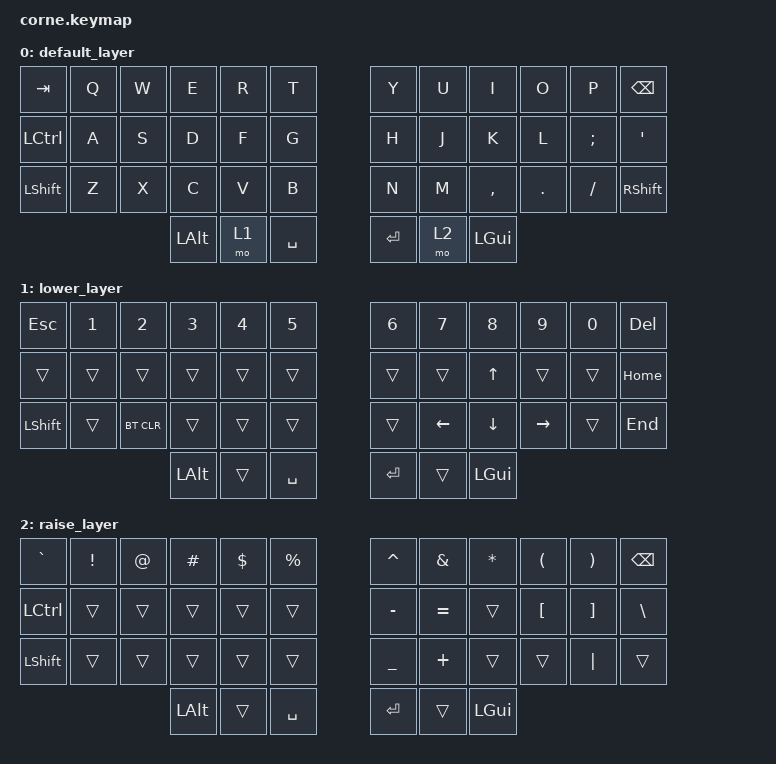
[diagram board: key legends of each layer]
/*
 * Copyright (c) 2020 The ZMK Contributors
 *
 * SPDX-License-Identifier: MIT
 */

#include <behaviors.dtsi>
#include <dt-bindings/zmk/keys.h>
#include <dt-bindings/zmk/bt.h>
#include <dt-bindings/zmk/outputs.h>

/ {
        keymap {
                compatible = "zmk,keymap";

                default_layer {
// -----------------------------------------------------------------------------------------
// |  TAB |  Q  |  W  |  E  |  R  |  T  |   |  Y  |  U   |  I  |  O  |  P  | BKSP |
// | CTRL |  A  |  S  |  D  |  F  |  G  |   |  H  |  J   |  K  |  L  |  ;  |  '   |
// | SHFT |  Z  |  X  |  C  |  V  |  B  |   |  N  |  M   |  ,  |  .  |  /  | SHFT |
//                    | ALT | LWR | SPC |   | ENT | RSE  | GUI |
                        bindings = <
   &kp TAB   &kp Q &kp W &kp E &kp R &kp T   &kp Y &kp U  &kp I     &kp O   &kp P    &kp BSPC
   &kp LCTRL &kp A &kp S &kp D &kp F &kp G   &kp H &kp J  &kp K     &kp L   &kp SEMI &kp SQT
   &kp LSHFT &kp Z &kp X &kp C &kp V &kp B   &kp N &kp M  &kp COMMA &kp DOT &kp FSLH &kp RSHFT
                  &kp LALT &mo 1 &kp SPACE   &kp RET &mo 2 &kp LGUI
                        >;
                };
                lower_layer {
// -----------------------------------------------------------------------------------------
// |  ESC |  1  |  2  |  3  |  4  |  5  |   |  6  |  7  |  8  |  9  |  0  | DEL  |
// |      |     |     |     |     |     |   |     |     |  UP |     |     | HOME |
// | SHFT |     |BTCLR|     |     |     |   |     | LFT | DWN | RGT |     | END  |
//                    | ALT |     | SPC |   | ENT |     | GUI |
                        bindings = <
   &kp ESC    &kp N1       &kp N2       &kp N3       &kp N4       &kp N5         &kp N6   &kp N7   &kp N8   &kp N9    &kp N0 &kp DEL
   &trans     &trans    &trans       &trans        &trans       &trans         &trans   &trans   &kp UP   &trans    &trans &kp HOME
   &kp LSHFT  &trans       &bt BT_CLR       &trans       &trans       &trans         &trans   &kp LEFT &kp DOWN &kp RIGHT &trans &kp END
                            &kp LALT     &trans       &kp SPACE      &kp RET  &trans   &kp LGUI
                        >;
                };

                raise_layer {
// -----------------------------------------------------------------------------------------
// |  `   |  !  |  @  |  #  |  $  |  %  |   |  ^  |  &  |  *  |  (  |  )  | BKSP |
// | CTRL |     |     |     |     |     |   |  -  |  =  |     |  [  |  ]  |  \   |
// | SHFT |     |     |     |     |     |   |  _  |  +  |     |     | "|" |      |
//                    | ALT |     | SPC |   | ENT |     | GUI |
                        bindings = <
   &kp GRAVE &kp EXCL &kp AT &kp HASH &kp DLLR &kp PRCNT   &kp CARET &kp AMPS  &kp ASTRK &kp LPAR &kp RPAR &kp BSPC
   &kp LCTRL &trans   &trans &trans   &trans   &trans      &kp MINUS &kp EQUAL &trans  &kp LBKT  &kp RBKT &kp BSLH
   &kp LSHFT &trans   &trans &trans   &trans   &trans      &kp UNDER &kp PLUS  &trans  &trans &kp PIPE &trans
                             &kp LALT &trans   &kp SPACE   &kp RET   &trans    &kp LGUI
                        >;
                };
        };
};
